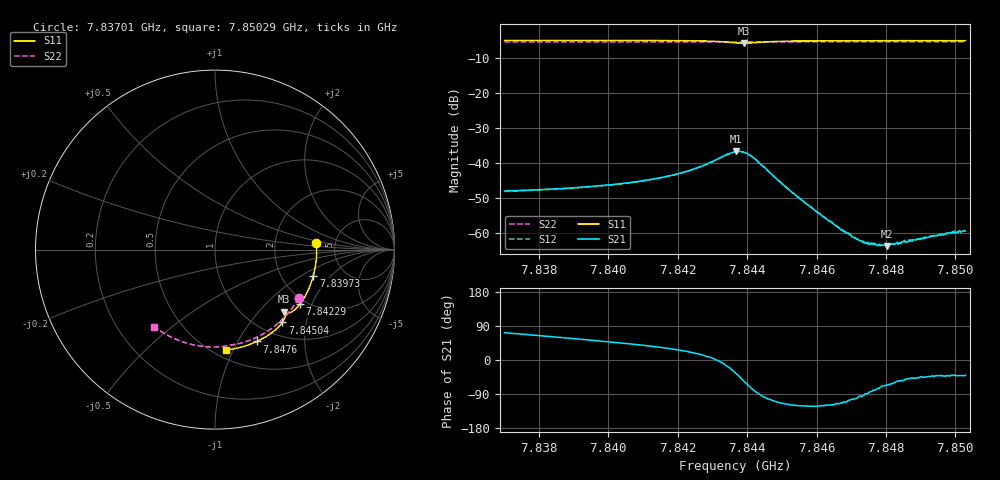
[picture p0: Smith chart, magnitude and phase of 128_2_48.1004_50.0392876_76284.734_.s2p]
#  HZ  S  RI  R  50.00
! Rohde & Schwarz Vector Network Analyzer
! Rohde-Schwarz,ZNB20-2Port,1311601062101988,3.16
! Created: UTC 12/23/2023, 3:47:28 AM
! freq[Hz]  re:S11  im:S11  re:S21  im:S21  re:S12  im:S12  re:S22  im:S22
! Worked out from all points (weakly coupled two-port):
!   401 points, 7.83701 GHz to 7.85029 GHz, reference 50 ohm
!   highest |S21| = -36.70 dB at 7.84368 GHz (marker M1); lowest = -63.8 dB at 7.84803 GHz (marker M2)
!   lowest |S11| = -5.7 dB at 7.84392 GHz (marker M3), VSWR 3.14, Z = 73.4 - j69.3 ohm
!   |S11| at or under -10 dB: nowhere
!   |S22| runs from -5.4 to -5.3 dB; largest |S21 - S12| = 0.00034
!   S11 on the Smith chart (normalised r, x): 7.83701 GHz: 3.57, +0.37; 7.83973 GHz: 3.01, -1.29; 7.84229 GHz: 1.84, -1.64; 7.84504 GHz: 1.25, -1.46; 7.8476 GHz: 0.81, -1.21; 7.85029 GHz: 0.57, -0.94
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7.83701e9  0.565 0.0349  0.00121 0.00376  0.00124 0.00369  0.4666 -0.2707
7.839234e9  0.5555 -0.1126  0.00261 0.00365  0.00254 0.00359  0.3709 -0.3931
7.839732e9  0.548 -0.1452  0.003 0.00362  0.00298 0.00357  0.3447 -0.4163
7.840662e9  0.5281 -0.2048  0.00391 0.00353  0.00385 0.0035  0.2923 -0.4551
7.841459e9  0.5047 -0.2549  0.00504 0.00335  0.00501 0.00338  0.244 -0.4831
7.842289e9  0.4726 -0.305  0.00708 0.00288  0.00703 0.00289  0.1906 -0.5068
7.842787e9  0.4469 -0.3329  0.00917 0.00172  0.00918 0.00185  0.1571 -0.5177
7.843152e9  0.4229 -0.3494  0.0113 -0.000291  0.0114 -0.00032  0.1324 -0.5241
7.84365e9  0.3882 -0.3527  0.0121 -0.00781  0.012 -0.00774  0.0991 -0.53
7.843683e9  0.3869 -0.3515  0.0119 -0.00854  0.0118 -0.00828  0.0969 -0.5303
7.843916e9  0.384 -0.3459  0.0077 -0.0119  0.00784 -0.0116  0.0822 -0.5328
7.844214e9  0.3909 -0.3517  0.00163 -0.0115  0.00172 -0.0113  0.0629 -0.5365
7.845045e9  0.3756 -0.4056  -0.00203 -0.00438  -0.00204 -0.0044  0.00516 -0.5427
7.845875e9  0.3344 -0.4489  -0.00119 -0.0019  -0.00118 -0.00191  -0.0533 -0.5409
7.846705e9  0.2879 -0.4826  -0.000434 -0.000999  -0.000471 -0.00105  -0.1113 -0.5326
7.84707e9  0.2666 -0.4953  -0.000213 -0.000827  -0.000233 -0.000826  -0.1363 -0.527
7.847369e9  0.2488 -0.5047  -4.15e-05 -0.000738  -4.8e-05 -0.000706  -0.1566 -0.5214
7.847601e9  0.2345 -0.5117  8.91e-05 -0.000675  8.05e-05 -0.000674  -0.1721 -0.5167
7.848033e9  0.2079 -0.5231  0.000253 -0.000593  0.000229 -0.000643  -0.2006 -0.5067
7.848099e9  0.2037 -0.5248  0.000284 -0.000638  0.000263 -0.000598  -0.205 -0.505
7.849925e9  0.0863 -0.556  0.000773 -0.000644  0.000774 -0.000697  -0.3175 -0.4443
7.85029e9  0.0622 -0.5589  0.00081 -0.000678  0.000776 -0.0007  -0.3381 -0.429
